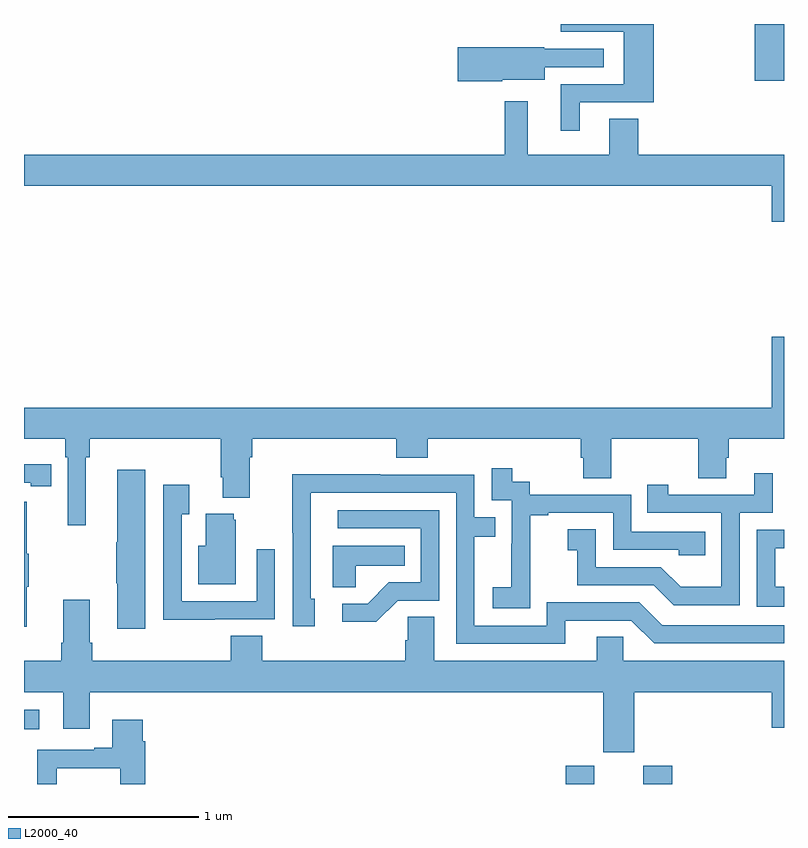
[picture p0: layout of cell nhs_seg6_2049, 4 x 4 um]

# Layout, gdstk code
import gdstk
lib = gdstk.Library(unit=1e-6, precision=1e-09)
def R(c, l, rs):  # rectangles x0, y0, x1, y1
    for r in rs: c.add(gdstk.rectangle(r[:2], r[2:], *l))
def P(c, l, *ps):  # polygons
    for p in ps: c.add(gdstk.Polygon(p, *l))
L2000_40 = (2000, 40)

nhs_seg6_2049 = lib.new_cell('nhs_seg6_2049')
R(nhs_seg6_2049, L2000_40, [(235.85,965.5,236.002,965.595), (236.258,965.5,236.411,965.595), (233,965.789,233.08,965.89), (236.846,969.201,237,969.5)])
P(nhs_seg6_2049, L2000_40, [(235.924,969.087),(236.315,969.087),(236.315,969.5),(235.826,969.5),(235.826,969.458),(236.156,969.458),(236.156,969.183),(235.826,969.183),(235.826,968.937),(235.924,968.937)],
  [(235.518,969.206),(235.741,969.206),(235.741,969.273),(236.05,969.273),(236.05,969.369),(235.737,969.369),(235.737,969.377),(235.284,969.377),(235.284,969.199),(235.518,969.199)],
  [(237,968.812),(236.234,968.812),(236.234,969.002),(236.081,969.002),(236.081,968.812),(235.651,968.812),(235.651,969.094),(235.53,969.094),(235.53,968.812),(233,968.812),(233,968.648),(236.936,968.648),(236.936,968.46),(237,968.46)],
  [(233.326,967.22),(233.345,967.22),(233.345,967.316),(234.035,967.316),(234.035,967.114),(234.047,967.114),(234.047,967.007),(234.187,967.007),(234.187,967.22),(234.2,967.22),(234.2,967.316),(234.959,967.316),(234.959,967.217),(235.124,967.217),(235.124,967.316),(235.931,967.316),(235.931,967.218),(235.943,967.218),(235.943,967.108),(236.091,967.108),(236.091,967.316),(236.548,967.316),(236.548,967.108),(236.695,967.108),(236.695,967.218),(236.708,967.218),(236.708,967.316),(237,967.316),(237,967.855),(236.936,967.855),(236.936,967.48),(233,967.48),(233,967.316),(233.216,967.316),(233.216,967.22),(233.229,967.22),(233.229,966.861),(233.326,966.861)],
  [(233.144,967.182),(233.036,967.182),(233.036,967.183),(233,967.183),(233,967.086),(233.036,967.086),(233.036,967.066),(233.144,967.066)],
  [(235.665,966.631),(235.664,966.631),(235.664,966.915),(235.759,966.915),(235.759,966.927),(236.1,966.927),(236.1,966.732),(236.445,966.732),(236.445,966.705),(236.585,966.705),(236.585,966.828),(236.196,966.828),(236.196,967.023),(235.662,967.023),(235.662,967.092),(235.57,967.092),(235.57,967.162),(235.461,967.162),(235.461,966.993),(235.566,966.993),(235.566,966.764),(235.565,966.764),(235.565,966.535),(235.467,966.535),(235.467,966.425),(235.665,966.425)],
  [(233.638,967.153),(233.492,967.153),(233.492,966.773),(233.485,966.773),(233.485,966.556),(233.492,966.556),(233.492,966.318),(233.638,966.318)],
  [(236.766,966.927),(236.94,966.927),(236.94,967.135),(236.843,967.135),(236.843,967.023),(236.392,967.023),(236.392,967.075),(236.281,967.075),(236.281,966.927),(236.67,966.927),(236.67,966.538),(236.456,966.538),(236.352,966.642),(236.01,966.642),(236.01,966.841),(235.863,966.841),(235.863,966.731),(235.912,966.731),(235.912,966.546),(236.315,966.546),(236.42,966.441),(236.766,966.441)],
  [(235.849,966.36),(236.196,966.36),(236.316,966.24),(237,966.24),(237,966.336),(236.358,966.336),(236.238,966.456),(235.752,966.456),(235.752,966.333),(235.371,966.333),(235.371,966.802),(235.481,966.802),(235.481,966.903),(235.371,966.903),(235.371,967.128),(234.875,967.128),(234.875,967.13),(234.412,967.13),(234.412,966.823),(234.414,966.823),(234.414,966.33),(234.529,966.33),(234.529,966.474),(234.51,966.474),(234.51,967.032),(235.275,967.032),(235.275,966.237),(235.849,966.237)],
  [(234.005,966.366),(234.321,966.366),(234.321,966.736),(234.225,966.736),(234.225,966.462),(233.829,966.462),(233.829,966.919),(233.869,966.919),(233.869,967.075),(233.733,967.075),(233.733,966.365),(234.005,966.365)],
  [(233.015,966.539),(233.026,966.539),(233.026,966.713),(233.015,966.713),(233.015,966.985),(233,966.985),(233,966.327),(233.015,966.327)],
  [(234.966,966.465),(235.185,966.465),(235.185,966.942),(234.651,966.942),(234.651,966.846),(235.089,966.846),(235.089,966.561),(234.92,966.561),(234.809,966.45),(234.675,966.45),(234.675,966.353),(234.853,966.353)],
  [(234.115,966.891),(234.104,966.891),(234.104,966.922),(233.957,966.922),(233.957,966.754),(233.918,966.754),(233.918,966.551),(234.115,966.551)],
  [(237,966.537),(236.953,966.537),(236.953,966.741),(237,966.741),(237,966.837),(236.856,966.837),(236.856,966.432),(237,966.432)],
  [(234.747,966.65),(235.004,966.65),(235.004,966.754),(234.626,966.754),(234.626,966.535),(234.747,966.535)],
  [(236.015,966.148),(235.159,966.148),(235.159,966.38),(235.02,966.38),(235.02,966.257),(235.007,966.257),(235.007,966.148),(234.254,966.148),(234.254,966.281),(234.089,966.281),(234.089,966.148),(233.36,966.148),(233.36,966.244),(233.347,966.244),(233.347,966.469),(233.207,966.469),(233.207,966.244),(233.195,966.244),(233.195,966.148),(233,966.148),(233,965.984),(233.207,965.984),(233.207,965.79),(233.347,965.79),(233.347,965.984),(236.048,965.984),(236.048,965.667),(236.212,965.667),(236.212,965.984),(236.936,965.984),(236.936,965.796),(237,965.796),(237,966.148),(236.154,966.148),(236.154,966.275),(236.015,966.275)],
  [(233.173,965.583),(233.507,965.583),(233.507,965.5),(233.639,965.5),(233.639,965.726),(233.626,965.726),(233.626,965.839),(233.465,965.839),(233.465,965.692),(233.369,965.692),(233.369,965.679),(233.069,965.679),(233.069,965.5),(233.173,965.5)])

lib.write_gds('nhs_seg6_2049.gds')
